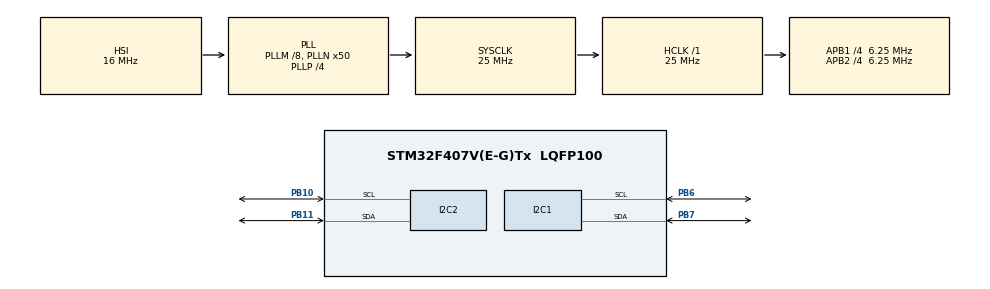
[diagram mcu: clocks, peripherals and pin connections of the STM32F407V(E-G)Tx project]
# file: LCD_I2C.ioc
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Mcu.Family=STM32F4
Mcu.Name=STM32F407V(E-G)Tx
Mcu.Package=LQFP100
NVIC.PriorityGroup=NVIC_PRIORITYGROUP_0
PB10.Mode=I2C
PB10.Signal=I2C2_SCL
PB11.Mode=I2C
PB11.Signal=I2C2_SDA
PB6.GPIO_Pu=GPIO_PULLUP
PB6.Mode=I2C
PB6.Signal=I2C1_SCL
PB7.GPIO_Pu=GPIO_PULLUP
PB7.Mode=I2C
PB7.Signal=I2C1_SDA
ProjectManager.HeapSize=0x200
ProjectManager.StackSize=0x400
ProjectManager.TargetToolchain=STM32CubeIDE
RCC.48MHZClocksFreq_Value=14285714.285714285
RCC.AHBFreq_Value=25000000
RCC.APB1CLKDivider=RCC_HCLK_DIV4
RCC.APB1Freq_Value=6250000
RCC.APB1TimFreq_Value=12500000
RCC.APB2CLKDivider=RCC_HCLK_DIV4
RCC.APB2Freq_Value=6250000
RCC.APB2TimFreq_Value=12500000
RCC.CortexFreq_Value=25000000
RCC.HCLKFreq_Value=25000000
RCC.HSE_VALUE=8000000
RCC.HSI_VALUE=16000000
RCC.LSE_VALUE=32768
RCC.PLLM=8
RCC.PLLN=50
RCC.PLLP=RCC_PLLP_DIV4
RCC.PLLQ=7
RCC.SYSCLKFreq_VALUE=25000000
RCC.SYSCLKSource=RCC_SYSCLKSOURCE_PLLCLK
RCC.VCOOutputFreq_Value=100000000
board=STM32F407G-DISC1

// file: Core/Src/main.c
/* USER CODE BEGIN Header */
/**
  ******************************************************************************
  * @file           : main.c
  * @brief          : Main program body
  ******************************************************************************
  * @attention
  *
  * Copyright (c) 2024 STMicroelectronics.
  * All rights reserved.
  *
  * This software is licensed under terms that can be found in the LICENSE file
  * in the root directory of this software component.
  * If no LICENSE file comes with this software, it is provided AS-IS.
  *
  ******************************************************************************
  */
/* USER CODE END Header */
#include "main.h"

/* USER CODE BEGIN Includes */
#include <stdio.h>
/* USER CODE END Includes */

I2C_HandleTypeDef hi2c1;
I2C_HandleTypeDef hi2c2;

void SystemClock_Config(void);
static void MX_GPIO_Init(void);
static void MX_I2C1_Init(void);
static void MX_I2C2_Init(void);
/* USER CODE BEGIN PFP */
void cmd_i2c(uint8_t);
void data_i2c(uint8_t);
void data(char *);
/* USER CODE END PFP */

/* USER CODE BEGIN 0 */
void cmd_i2c(uint8_t cmd)
{
	uint8_t d1 = (cmd & 0xF0) | 0x0C;  // RS=0, RW=0, E=1
	uint8_t d2 = (cmd & 0xF0) | 0x08;  // RS=0, RW=0, E=0
	uint8_t Timeout = 100;

	HAL_I2C_Master_Transmit(&hi2c1, 0x4E, &d1, 1, Timeout);
	HAL_Delay(2);
	HAL_I2C_Master_Transmit(&hi2c1, 0x4E, &d2, 1, Timeout);

	uint8_t d3 = ((cmd << 4) & 0xF0) | 0x0C;  // RS=0, RW=0, E=1
	uint8_t d4 = ((cmd << 4) & 0xF0) | 0x08;  // RS=0, RW=0, E=0

	HAL_I2C_Master_Transmit(&hi2c1, 0x4E, &d3, 1, Timeout);
	HAL_Delay(2);
	HAL_I2C_Master_Transmit(&hi2c1, 0x4E, &d4, 1, Timeout);

}
void data_i2c( uint8_t data)
{
	uint8_t d1 = (data & 0xF0) | 0x0D;  // RS=1, RW=0, E=1
	uint8_t d2 = (data & 0xF0) | 0x09;  // RS=1, RW=0, E=0
	uint8_t Timeout = 100;

	HAL_I2C_Master_Transmit(&hi2c1, 0x4E, &d1, 1, Timeout);
	HAL_Delay(2);
	HAL_I2C_Master_Transmit(&hi2c1, 0x4E, &d2, 1, Timeout);

	uint8_t d3 = ((data << 4) & 0xF0) | 0x0D;  // RS=1, RW=0, E=1
	uint8_t d4 = ((data << 4) & 0xF0) | 0x09;  // RS=1, RW=0, E=0
	HAL_I2C_Master_Transmit(&hi2c1, 0x4E, &d3, 1, Timeout);
	HAL_Delay(2);
	HAL_I2C_Master_Transmit(&hi2c1, 0x4E, &d4, 1, Timeout);
}

void data(char *s)
{
	while(*s |= '\0')
	{

	    data_i2c(*s);
		s++;
	}
}
/*void data(char *s)
{
		data_i2c('a');
}*/

/* USER CODE END 0 */

int main(void)
{

  /* MCU Configuration--------------------------------------------------------*/

  /* Reset of all peripherals, Initializes the Flash interface and the Systick. */
  HAL_Init();

  /* Configure the system clock */
  SystemClock_Config();

  /* Initialize all configured peripherals */
  MX_GPIO_Init();
  MX_I2C1_Init();
  MX_I2C2_Init();
  /* USER CODE BEGIN 2 */
  cmd_i2c(0x02);
  cmd_i2c(0x28);
  cmd_i2c(0x0E);
  cmd_i2c(0x01);
  cmd_i2c(0x80);
  //Ccmd_i2c(0xC0);
  data("Hello Im STM32,");
  cmd_i2c(0xC0);
  data("Hai......");
  //data_i2c('H');
  /* USER CODE END 2 */

  /* Infinite loop */
  while (1)
  {

  }
}

void SystemClock_Config(void)
{
  RCC_OscInitTypeDef RCC_OscInitStruct = {0};
  RCC_ClkInitTypeDef RCC_ClkInitStruct = {0};

  /** Configure the main internal regulator output voltage
  */
  __HAL_RCC_PWR_CLK_ENABLE();
  __HAL_PWR_VOLTAGESCALING_CONFIG(PWR_REGULATOR_VOLTAGE_SCALE1);

  /** Initializes the RCC Oscillators according to the specified parameters
  * in the RCC_OscInitTypeDef structure.
  */
  RCC_OscInitStruct.OscillatorType = RCC_OSCILLATORTYPE_HSI;
  RCC_OscInitStruct.HSIState = RCC_HSI_ON;
  RCC_OscInitStruct.HSICalibrationValue = RCC_HSICALIBRATION_DEFAULT;
  RCC_OscInitStruct.PLL.PLLState = RCC_PLL_ON;
  RCC_OscInitStruct.PLL.PLLSource = RCC_PLLSOURCE_HSI;
  RCC_OscInitStruct.PLL.PLLM = 8;
  RCC_OscInitStruct.PLL.PLLN = 50;
  RCC_OscInitStruct.PLL.PLLP = RCC_PLLP_DIV4;
  RCC_OscInitStruct.PLL.PLLQ = 7;
  if (HAL_RCC_OscConfig(&RCC_OscInitStruct) != HAL_OK)
  {
    Error_Handler();
  }

  /** Initializes the CPU, AHB and APB buses clocks
  */
  RCC_ClkInitStruct.ClockType = RCC_CLOCKTYPE_HCLK|RCC_CLOCKTYPE_SYSCLK
                              |RCC_CLOCKTYPE_PCLK1|RCC_CLOCKTYPE_PCLK2;
  RCC_ClkInitStruct.SYSCLKSource = RCC_SYSCLKSOURCE_PLLCLK;
  RCC_ClkInitStruct.AHBCLKDivider = RCC_SYSCLK_DIV1;
  RCC_ClkInitStruct.APB1CLKDivider = RCC_HCLK_DIV4;
  RCC_ClkInitStruct.APB2CLKDivider = RCC_HCLK_DIV4;

  if (HAL_RCC_ClockConfig(&RCC_ClkInitStruct, FLASH_LATENCY_0) != HAL_OK)
  {
    Error_Handler();
  }
}

static void MX_I2C1_Init(void)
{

  hi2c1.Instance = I2C1;
  hi2c1.Init.ClockSpeed = 100000;
  hi2c1.Init.DutyCycle = I2C_DUTYCYCLE_2;
  hi2c1.Init.OwnAddress1 = 0;
  hi2c1.Init.AddressingMode = I2C_ADDRESSINGMODE_7BIT;
  hi2c1.Init.DualAddressMode = I2C_DUALADDRESS_DISABLE;
  hi2c1.Init.OwnAddress2 = 0;
  hi2c1.Init.GeneralCallMode = I2C_GENERALCALL_DISABLE;
  hi2c1.Init.NoStretchMode = I2C_NOSTRETCH_DISABLE;
  if (HAL_I2C_Init(&hi2c1) != HAL_OK)
  {
    Error_Handler();
  }

}

static void MX_I2C2_Init(void)
{

  hi2c2.Instance = I2C2;
  hi2c2.Init.ClockSpeed = 100000;
  hi2c2.Init.DutyCycle = I2C_DUTYCYCLE_2;
  hi2c2.Init.OwnAddress1 = 0;
  hi2c2.Init.AddressingMode = I2C_ADDRESSINGMODE_7BIT;
  hi2c2.Init.DualAddressMode = I2C_DUALADDRESS_DISABLE;
  hi2c2.Init.OwnAddress2 = 0;
  hi2c2.Init.GeneralCallMode = I2C_GENERALCALL_DISABLE;
  hi2c2.Init.NoStretchMode = I2C_NOSTRETCH_DISABLE;
  if (HAL_I2C_Init(&hi2c2) != HAL_OK)
  {
    Error_Handler();
  }

}

static void MX_GPIO_Init(void)
{

  /* GPIO Ports Clock Enable */
  __HAL_RCC_GPIOB_CLK_ENABLE();

}

void Error_Handler(void)
{
  __disable_irq();
  while (1)
  {
  }
}
